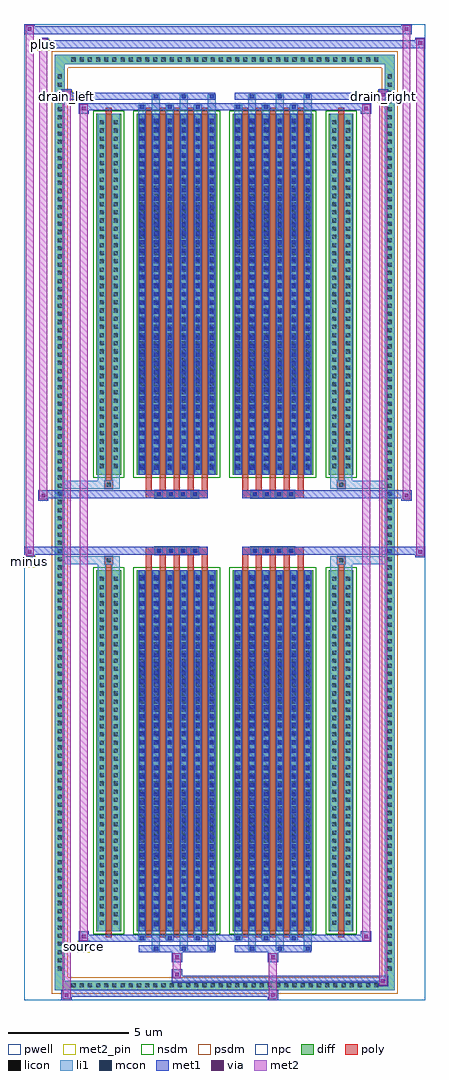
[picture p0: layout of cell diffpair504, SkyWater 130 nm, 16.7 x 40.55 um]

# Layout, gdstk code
import gdstk
lib = gdstk.Library(unit=1e-6, precision=5e-09)
def R(c, l, rs):  # rectangles x0, y0, x1, y1
    for r in rs: c.add(gdstk.rectangle(r[:2], r[2:], *l))
def A(c, l, x, y, w, h, nx, ny, dx, dy):  # array of equal rectangles
    R(c, l, [(x+i*dx, y+j*dy, x+i*dx+w, y+j*dy+h) for i in range(nx) for j in range(ny)])
def P(c, l, *ps):  # polygons
    for p in ps: c.add(gdstk.Polygon(p, *l))
pwell = (64, 44)
diff = (65, 20)
poly = (66, 20)
licon = (66, 44)
li1 = (67, 20)
mcon = (67, 44)
met1 = (68, 20)
via = (68, 44)
met2_pin = (69, 16)
met2 = (69, 20)
nsdm = (93, 44)
psdm = (94, 20)
npc = (95, 20)

diffpair504 = lib.new_cell('diffpair504')
R(diffpair504, pwell, [(-8.33,-19.84,8.33,20.71), (-5.65,-18.03,-0.01,-0.805), (0.01,-18.03,5.65,-0.805), (-5.65,0.805,-0.01,18.03), (0.01,0.805,5.65,18.03)])
A(diffpair504, diff, -6.495, -19.44, 0.41, 0.41, 38, 2, 0.34, 38.47)
A(diffpair504, diff, -7.06, -18.735, 0.41, 0.41, 1, 110, 0, 0.34)
A(diffpair504, diff, 6.65, -18.735, 0.41, 0.41, 1, 110, 0, 0.34)
R(diffpair504, diff, [(-6.495,-19.44,6.495,-19.03), (-7.06,-18.735,-6.65,18.735), (6.65,-18.735,7.06,18.735), (-5.34,-16.985,-4.31,-1.985), (-3.67,-16.985,-0.32,-1.985), (0.32,-16.985,3.67,-1.985), (4.31,-16.985,5.34,-1.985), (-5.34,1.985,-4.31,16.985), (-3.67,1.985,-0.32,16.985), (0.32,1.985,3.67,16.985), (4.31,1.985,5.34,16.985), (-6.495,19.03,6.495,19.44)])
P(diffpair504, diff, [(7.06,19.44),(-7.06,19.44),(-7.06,-19.03),(-6.65,-19.03),(-6.65,19.03),(6.65,19.03),(6.65,-19.03),(-6.65,-19.03),(-7.06,-19.03),(-7.06,-19.44),(7.06,-19.44)])
A(diffpair504, poly, -3.28, -17.235, 0.25, 15.5, 5, 2, 0.58, 18.97)
A(diffpair504, poly, 0.71, -17.235, 0.25, 15.5, 5, 2, 0.58, 18.97)
A(diffpair504, poly, -3.28, -1.735, 0.25, 0.4, 5, 2, 0.58, 3.07)
A(diffpair504, poly, 0.71, -1.735, 0.25, 0.4, 5, 2, 0.58, 3.07)
A(diffpair504, poly, -2.91, -1.335, 0.33, 0.33, 4, 2, 0.5, 2.34)
A(diffpair504, poly, 1.08, -1.335, 0.33, 0.33, 4, 2, 0.5, 2.34)
R(diffpair504, poly, [(-4.95,-17.235,-4.7,-1.735), (4.7,-17.235,4.95,-1.735), (-4.99,-1.735,-4.66,-1.405), (-4.99,-1.735,-4.66,-1.405), (4.66,-1.735,4.99,-1.405), (4.66,-1.735,4.99,-1.405), (-3.28,-1.335,-0.71,-1.005), (0.71,-1.335,3.28,-1.005), (-3.28,1.005,-0.71,1.335), (0.71,1.005,3.28,1.335), (-4.99,1.405,-4.66,1.735), (-4.99,1.405,-4.66,1.735), (4.66,1.405,4.99,1.735), (4.66,1.405,4.99,1.735), (-4.95,1.735,-4.7,17.235), (4.7,1.735,4.95,17.235)])
A(diffpair504, licon, -6.375, -19.32, 0.17, 0.17, 38, 2, 0.34, 38.47)
A(diffpair504, licon, -6.94, -18.615, 0.17, 0.17, 1, 110, 0, 0.34)
A(diffpair504, licon, 6.77, -18.615, 0.17, 0.17, 1, 110, 0, 0.34)
A(diffpair504, licon, -5.2, -16.71, 0.17, 0.17, 1, 43, 0, 0.34)
A(diffpair504, licon, -4.62, -16.71, 0.17, 0.17, 1, 43, 0, 0.34)
A(diffpair504, licon, -3.53, -16.71, 0.17, 0.17, 6, 43, 0.58, 0.34)
A(diffpair504, licon, 0.46, -16.71, 0.17, 0.17, 6, 43, 0.58, 0.34)
A(diffpair504, licon, 4.45, -16.71, 0.17, 0.17, 1, 43, 0, 0.34)
A(diffpair504, licon, 5.03, -16.71, 0.17, 0.17, 1, 43, 0, 0.34)
A(diffpair504, licon, -2.83, -1.255, 0.17, 0.17, 4, 2, 0.5, 2.34)
A(diffpair504, licon, 1.16, -1.255, 0.17, 0.17, 4, 2, 0.5, 2.34)
A(diffpair504, licon, -5.2, 2.26, 0.17, 0.17, 1, 43, 0, 0.34)
A(diffpair504, licon, -4.62, 2.26, 0.17, 0.17, 1, 43, 0, 0.34)
A(diffpair504, licon, -3.53, 2.26, 0.17, 0.17, 6, 43, 0.58, 0.34)
A(diffpair504, licon, 0.46, 2.26, 0.17, 0.17, 6, 43, 0.58, 0.34)
A(diffpair504, licon, 4.45, 2.26, 0.17, 0.17, 1, 43, 0, 0.34)
A(diffpair504, licon, 5.03, 2.26, 0.17, 0.17, 1, 43, 0, 0.34)
R(diffpair504, licon, [(-4.91,-1.655,-4.74,-1.485), (4.74,-1.655,4.91,-1.485), (-4.91,1.485,-4.74,1.655), (4.74,1.485,4.91,1.655)])
A(diffpair504, li1, -6.455, -19.4, 0.33, 0.33, 38, 2, 0.34, 38.47)
A(diffpair504, li1, -7.02, -18.695, 0.33, 0.33, 1, 110, 0, 0.34)
A(diffpair504, li1, 6.69, -18.695, 0.33, 0.33, 1, 110, 0, 0.34)
A(diffpair504, li1, -3.03, -17.79, 0.33, 0.805, 3, 2, 1.16, 34.775)
A(diffpair504, li1, -2.95, -17.79, 0.17, 0.17, 3, 2, 1.16, 35.41)
A(diffpair504, li1, 0.96, -17.79, 0.33, 0.805, 3, 2, 1.16, 34.775)
A(diffpair504, li1, 1.04, -17.79, 0.17, 0.17, 3, 2, 1.16, 35.41)
A(diffpair504, li1, -3.61, -17.36, 0.33, 0.375, 3, 2, 1.16, 34.345)
A(diffpair504, li1, -3.53, -17.36, 0.17, 0.17, 3, 2, 1.16, 34.55)
A(diffpair504, li1, 0.38, -17.36, 0.33, 0.375, 3, 2, 1.16, 34.345)
A(diffpair504, li1, 0.46, -17.36, 0.17, 0.17, 3, 2, 1.16, 34.55)
A(diffpair504, li1, -3.61, -16.985, 0.33, 15, 6, 2, 0.58, 18.97)
A(diffpair504, li1, 0.38, -16.985, 0.33, 15, 6, 2, 0.58, 18.97)
A(diffpair504, li1, -5.28, -16.79, 0.33, 0.33, 1, 43, 0, 0.34)
A(diffpair504, li1, -4.7, -16.79, 0.33, 0.33, 1, 43, 0, 0.34)
A(diffpair504, li1, -3.61, -16.79, 0.33, 0.33, 6, 43, 0.58, 0.34)
A(diffpair504, li1, 0.38, -16.79, 0.33, 0.33, 6, 43, 0.58, 0.34)
A(diffpair504, li1, 4.37, -16.79, 0.33, 0.33, 1, 43, 0, 0.34)
A(diffpair504, li1, 4.95, -16.79, 0.33, 0.33, 1, 43, 0, 0.34)
A(diffpair504, li1, -3.53, -16.77, 0.17, 0.17, 6, 41, 0.58, 0.36)
A(diffpair504, li1, -3.53, -16.77, 0.17, 14.57, 6, 2, 0.58, 18.97)
A(diffpair504, li1, 0.46, -16.77, 0.17, 0.17, 6, 41, 0.58, 0.36)
A(diffpair504, li1, 0.46, -16.77, 0.17, 14.57, 6, 2, 0.58, 18.97)
A(diffpair504, li1, -2.91, -1.335, 0.33, 0.33, 4, 2, 0.5, 2.34)
A(diffpair504, li1, 1.08, -1.335, 0.33, 0.33, 4, 2, 0.5, 2.34)
A(diffpair504, li1, -5.28, 2.18, 0.33, 0.33, 1, 43, 0, 0.34)
A(diffpair504, li1, -4.7, 2.18, 0.33, 0.33, 1, 43, 0, 0.34)
A(diffpair504, li1, -3.61, 2.18, 0.33, 0.33, 6, 43, 0.58, 0.34)
A(diffpair504, li1, 0.38, 2.18, 0.33, 0.33, 6, 43, 0.58, 0.34)
A(diffpair504, li1, 4.37, 2.18, 0.33, 0.33, 1, 43, 0, 0.34)
A(diffpair504, li1, 4.95, 2.18, 0.33, 0.33, 1, 43, 0, 0.34)
A(diffpair504, li1, -3.53, 2.2, 0.17, 0.17, 6, 41, 0.58, 0.36)
A(diffpair504, li1, 0.46, 2.2, 0.17, 0.17, 6, 41, 0.58, 0.36)
R(diffpair504, li1, [(-7.06,-19.44,-6.65,-19.03), (-7.06,-19.44,-6.65,-19.03), (-6.65,-19.44,6.65,-19.03), (6.65,-19.44,7.06,-19.03), (6.65,-19.44,7.06,-19.03), (-7.06,-19.03,-6.65,19.03), (6.65,-19.03,7.06,19.03), (-5.28,-16.985,-4.95,-1.985), (-4.7,-16.985,-4.37,-1.985), (4.37,-16.985,4.7,-1.985), (4.95,-16.985,5.28,-1.985), (-5.28,-1.985,-4.95,-1.405), (-4.7,-1.985,-4.37,-1.405), (4.37,-1.985,4.7,-1.405), (4.95,-1.985,5.28,-1.405), (-7.06,-1.735,-4.99,-1.405), (-5.28,-1.735,-4.99,-1.405), (-4.99,-1.735,-4.66,-1.405), (-4.66,-1.735,-4.37,-1.405), (4.37,-1.735,4.66,-1.405), (4.66,-1.735,4.99,-1.405), (4.66,-1.735,7.06,-1.405), (4.99,-1.735,5.28,-1.405), (-7.06,1.405,-4.99,1.735), (-5.28,1.405,-4.99,1.735), (-5.28,1.405,-4.95,1.985), (-4.99,1.405,-4.66,1.735), (-4.7,1.405,-4.37,1.985), (-4.66,1.405,-4.37,1.735), (4.37,1.405,4.66,1.735), (4.37,1.405,4.7,1.985), (4.66,1.405,4.99,1.735), (4.66,1.405,7.06,1.735), (4.95,1.405,5.28,1.985), (4.99,1.405,5.28,1.735), (-5.28,1.985,-4.95,16.985), (-4.7,1.985,-4.37,16.985), (4.37,1.985,4.7,16.985), (4.95,1.985,5.28,16.985), (-7.06,19.03,-6.65,19.44), (-7.06,19.03,-6.65,19.44), (-6.65,19.03,6.65,19.44), (6.65,19.03,7.06,19.44), (6.65,19.03,7.06,19.44)])
A(diffpair504, mcon, -2.95, -17.79, 0.17, 0.17, 3, 2, 1.16, 35.41)
A(diffpair504, mcon, 1.04, -17.79, 0.17, 0.17, 3, 2, 1.16, 35.41)
A(diffpair504, mcon, -3.53, -17.36, 0.17, 0.17, 3, 2, 1.16, 34.55)
A(diffpair504, mcon, 0.46, -17.36, 0.17, 0.17, 3, 2, 1.16, 34.55)
A(diffpair504, mcon, -3.53, -16.77, 0.17, 0.17, 6, 41, 0.58, 0.36)
A(diffpair504, mcon, 0.46, -16.77, 0.17, 0.17, 6, 41, 0.58, 0.36)
A(diffpair504, mcon, -2.83, -1.255, 0.17, 0.17, 4, 2, 0.5, 2.34)
A(diffpair504, mcon, 1.16, -1.255, 0.17, 0.17, 4, 2, 0.5, 2.34)
A(diffpair504, mcon, -3.53, 2.2, 0.17, 0.17, 6, 41, 0.58, 0.36)
A(diffpair504, mcon, 0.46, 2.2, 0.17, 0.17, 6, 41, 0.58, 0.36)
A(diffpair504, met1, -3.01, -17.85, 0.29, 0.29, 3, 2, 1.16, 35.41)
A(diffpair504, met1, 0.98, -17.85, 0.29, 0.29, 3, 2, 1.16, 35.41)
A(diffpair504, met1, -3.59, -17.42, 0.29, 0.29, 3, 2, 1.16, 34.55)
A(diffpair504, met1, 0.4, -17.42, 0.29, 0.29, 3, 2, 1.16, 34.55)
A(diffpair504, met1, -3.59, -16.985, 0.29, 15, 6, 2, 0.58, 18.97)
A(diffpair504, met1, 0.4, -16.985, 0.29, 15, 6, 2, 0.58, 18.97)
A(diffpair504, met1, -3.59, -16.83, 0.29, 0.29, 6, 41, 0.58, 0.36)
A(diffpair504, met1, 0.4, -16.83, 0.29, 0.29, 6, 41, 0.58, 0.36)
A(diffpair504, met1, -2.89, -1.315, 0.29, 0.29, 4, 2, 0.5, 2.34)
A(diffpair504, met1, 1.1, -1.315, 0.29, 0.29, 4, 2, 0.5, 2.34)
A(diffpair504, met1, -3.59, 2.14, 0.29, 0.29, 6, 41, 0.58, 0.36)
A(diffpair504, met1, 0.4, 2.14, 0.29, 0.29, 6, 41, 0.58, 0.36)
R(diffpair504, met1, [(-6.79,-19.84,-6.36,-19.41), (1.78,-19.84,2.21,-19.41), (-6.79,-19.7,2.21,-19.41), (6.36,-19.27,6.79,-18.84), (-2.21,-19.13,6.79,-18.84), (-2.21,-18.99,-1.78,-18.56), (-2.21,-18.28,-1.78,-17.85), (1.78,-18.28,2.21,-17.85), (-3.59,-17.85,-0.4,-17.56), (0.4,-17.85,3.59,-17.56), (-6.08,-17.42,-5.65,-16.99), (-6.08,-17.42,-3.59,-17.13), (-3.59,-17.42,-0.4,-17.13), (-0.4,-17.42,0.4,-17.13), (0.4,-17.42,3.59,-17.13), (3.59,-17.42,6.08,-17.13), (5.65,-17.42,6.08,-16.99), (-8.33,-1.435,-7.9,-1.005), (7.9,-1.435,8.33,-1.005), (-8.33,-1.335,-0.71,-1.005), (-3.28,-1.335,-0.71,-1.005), (0.71,-1.335,3.28,-1.005), (0.71,-1.335,8.33,-1.005), (-7.76,0.905,-7.33,1.335), (7.33,0.905,7.76,1.335), (-7.76,1.005,-3.28,1.335), (-3.28,1.005,-0.71,1.335), (0.71,1.005,3.28,1.335), (3.28,1.005,7.76,1.335), (-6.08,16.99,-5.65,17.42), (5.65,16.99,6.08,17.42), (-6.08,17.13,-3.59,17.42), (-3.59,17.13,-0.4,17.42), (-0.4,17.13,0.4,17.42), (0.4,17.13,3.59,17.42), (3.59,17.13,6.08,17.42), (-6.79,17.56,-6.36,17.99), (-6.79,17.56,-3.59,17.85), (-3.59,17.56,-0.4,17.85), (0.4,17.56,3.59,17.85), (3.59,17.56,6.79,17.85), (6.36,17.56,6.79,17.99), (-7.76,19.71,-7.33,20.14), (-7.76,19.71,-5.65,20.04), (-5.65,19.71,5.65,20.04), (5.65,19.71,8.33,20.04), (7.9,19.71,8.33,20.14), (-8.33,20.28,-7.9,20.71), (-8.33,20.28,-5.65,20.61), (-5.65,20.28,5.65,20.61), (5.65,20.28,7.76,20.61), (7.33,20.28,7.76,20.71)])
R(diffpair504, via, [(-6.65,-19.7,-6.5,-19.55), (1.92,-19.7,2.07,-19.55), (6.5,-19.13,6.65,-18.98), (-2.07,-18.85,-1.92,-18.7), (-2.07,-18.14,-1.92,-17.99), (1.92,-18.14,2.07,-17.99), (-5.94,-17.28,-5.79,-17.13), (5.79,-17.28,5.94,-17.13), (-8.19,-1.295,-8.04,-1.145), (8.04,-1.295,8.19,-1.145), (-7.62,1.045,-7.47,1.195), (7.47,1.045,7.62,1.195), (-5.94,17.13,-5.79,17.28), (5.79,17.13,5.94,17.28), (-6.65,17.7,-6.5,17.85), (6.5,17.7,6.65,17.85), (-7.62,19.85,-7.47,20), (8.04,19.85,8.19,20), (-8.19,20.42,-8.04,20.57), (7.47,20.42,7.62,20.57)])
R(diffpair504, met2_pin, [(-6.115,-17.87,-5.615,-17.37), (-8.365,-1.885,-7.865,-1.385), (-6.825,17.44,-6.325,17.94), (6.325,17.44,6.825,17.94), (-7.795,19.59,-7.295,20.09)])
R(diffpair504, met2, [(-6.74,-19.79,-6.41,-19.46), (-6.74,-19.79,-6.41,17.94), (1.83,-19.79,2.16,-19.46), (1.83,-19.46,2.16,-18.23), (6.41,-19.22,6.74,-18.89), (6.41,-19.22,6.74,17.94), (-2.16,-18.94,-1.83,-18.61), (-2.16,-18.61,-1.83,-18.23), (-2.16,-18.23,-1.83,-17.9), (1.83,-18.23,2.16,-17.9), (-6.03,-17.37,-5.7,-17.04), (-6.03,-17.37,-5.7,17.37), (5.7,-17.37,6.03,-17.04), (5.7,-17.37,6.03,17.37), (-8.28,-1.385,-7.95,-1.055), (-8.28,-1.385,-7.95,20.66), (7.95,-1.385,8.28,-1.055), (7.95,-1.385,8.28,20.09), (-7.71,0.955,-7.38,1.285), (-7.71,0.955,-7.38,20.09), (7.38,0.955,7.71,1.285), (7.38,0.955,7.71,20.66), (-6.03,17.04,-5.7,17.37), (5.7,17.04,6.03,17.37), (-6.74,17.61,-6.41,17.94), (6.41,17.61,6.74,17.94), (-7.71,19.76,-7.38,20.09), (7.95,19.76,8.28,20.09), (-8.28,20.33,-7.95,20.66), (7.38,20.33,7.71,20.66)])
P(diffpair504, met2, [(8.28,-1.385),(8.28,-1.385),(8.28,-1.055),(8.28,-1.055)],
  [(8.28,19.76),(8.28,19.76),(8.28,20.09),(8.28,20.09)],
  [(-7.95,-1.385),(-7.95,-1.385),(-7.95,-1.055),(-7.95,-1.055)],
  [(-7.95,20.33),(-7.95,20.33),(-7.95,20.66),(-7.95,20.66)],
  [(7.71,0.955),(7.71,0.955),(7.71,1.285),(7.71,1.285)],
  [(7.71,20.33),(7.71,20.33),(7.71,20.66),(7.71,20.66)],
  [(-7.38,0.955),(-7.38,0.955),(-7.38,1.285),(-7.38,1.285)],
  [(-7.38,19.76),(-7.38,19.76),(-7.38,20.09),(-7.38,20.09)],
  [(-6.41,-19.79),(-6.41,-19.79),(-6.41,-19.46),(-6.41,-19.46)],
  [(-6.41,17.61),(-6.41,17.61),(-6.41,17.94),(-6.41,17.94)],
  [(6.74,-19.22),(6.74,-19.22),(6.74,-18.89),(6.74,-18.89)],
  [(6.74,17.61),(6.74,17.61),(6.74,17.94),(6.74,17.94)],
  [(-5.7,-17.37),(-5.7,-17.37),(-5.7,-17.04),(-5.7,-17.04)],
  [(-5.7,17.04),(-5.7,17.04),(-5.7,17.37),(-5.7,17.37)],
  [(6.03,-17.37),(6.03,-17.37),(6.03,-17.04),(6.03,-17.04)],
  [(6.03,17.04),(6.03,17.04),(6.03,17.37),(6.03,17.37)])
R(diffpair504, nsdm, [(-5.47,-17.115,-4.18,-1.855), (-3.8,-17.115,-0.19,-1.855), (0.19,-17.115,3.8,-1.855), (4.18,-17.115,5.47,-1.855), (-5.47,1.855,-4.18,17.115), (-3.8,1.855,-0.19,17.115), (0.19,1.855,3.8,17.115), (4.18,1.855,5.47,17.115)])
P(diffpair504, psdm, [(7.19,19.57),(-7.19,19.57),(-7.19,-18.9),(-6.52,-18.9),(-6.52,18.9),(6.52,18.9),(6.52,-18.9),(-6.52,-18.9),(-7.19,-18.9),(-7.19,-19.57),(7.19,-19.57)])
A(diffpair504, npc, -2.93, -1.355, 0.37, 0.37, 4, 2, 0.5, 2.34)
A(diffpair504, npc, 1.06, -1.355, 0.37, 0.37, 4, 2, 0.5, 2.34)
R(diffpair504, npc, [(-5.01,-1.755,-4.64,-1.385), (4.64,-1.755,5.01,-1.385), (-2.93,-1.355,-2.06,-0.985), (-2.93,-1.355,-2.06,-0.985), (-2.43,-1.355,-1.56,-0.985), (-2.43,-1.355,-1.56,-0.985), (-1.93,-1.355,-1.06,-0.985), (-1.93,-1.355,-1.06,-0.985), (1.06,-1.355,1.93,-0.985), (1.06,-1.355,1.93,-0.985), (1.56,-1.355,2.43,-0.985), (1.56,-1.355,2.43,-0.985), (2.06,-1.355,2.93,-0.985), (2.06,-1.355,2.93,-0.985), (-2.93,0.985,-2.06,1.355), (-2.93,0.985,-2.06,1.355), (-2.43,0.985,-1.56,1.355), (-2.43,0.985,-1.56,1.355), (-1.93,0.985,-1.06,1.355), (-1.93,0.985,-1.06,1.355), (1.06,0.985,1.93,1.355), (1.06,0.985,1.93,1.355), (1.56,0.985,2.43,1.355), (1.56,0.985,2.43,1.355), (2.06,0.985,2.93,1.355), (2.06,0.985,2.93,1.355), (-5.01,1.385,-4.64,1.755), (4.64,1.385,5.01,1.755)])
diffpair504.add(gdstk.Label('minus', (-8.115,-1.635), layer=69, texttype=5))
diffpair504.add(gdstk.Label('drain_right', (6.575,17.69), layer=69, texttype=5))
diffpair504.add(gdstk.Label('drain_left', (-6.575,17.69), layer=69, texttype=5))
diffpair504.add(gdstk.Label('source', (-5.865,-17.62), layer=69, texttype=5))
diffpair504.add(gdstk.Label('plus', (-7.545,19.84), layer=69, texttype=5))

lib.write_gds('diffpair504.gds')
